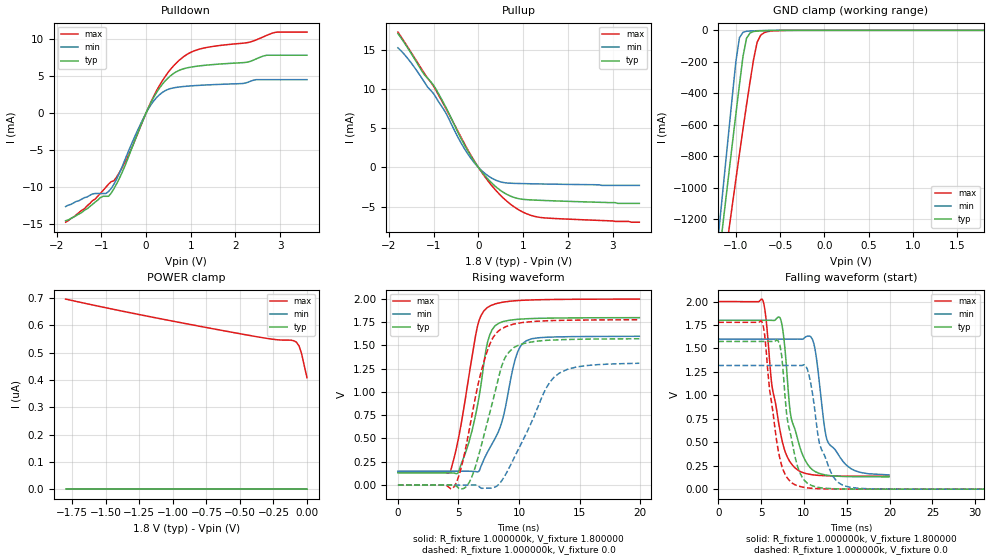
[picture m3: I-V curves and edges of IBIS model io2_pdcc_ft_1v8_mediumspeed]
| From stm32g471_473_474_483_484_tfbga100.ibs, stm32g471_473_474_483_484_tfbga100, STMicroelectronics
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|   Model io2_pdcc_ft_1v8_mediumspeed
[Model]  io2_pdcc_ft_1v8_mediumspeed
Model_type I/O
Polarity   Non-Inverting
Enable   Active-Low
Vinl =   0.540000V
Vinh =   1.260000V
Vmeas =  0.900000V
Cref =   50.000000pF
Rref =   100.000000M
Vref =   0.0V
C_comp   4.367000pF   3.639100pF   5.105000pF
[Temperature Range]   25.000000   -40.000000   0.125000k
[Pullup Reference]   1.800000V   1.600000V   2.000000V
[Pulldown Reference]   0.0V   0.0V   0.0V
[POWER Clamp Reference]   1.800000V   1.600000V   2.000000V
[GND Clamp Reference]   0.0V   0.0V   0.0V
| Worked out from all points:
|   slope of the pulldown table from 0 to 0.27 V, typ, clamps not added: 87.5 ohm
|   slope of the pullup table from 0 to 0.27 V, typ, clamps not added: 147 ohm
|   GND clamp passes 1 mA (typ) near -0.58 V on its own axis
|   rising waveform, R_fixture 1.000000k, V_fixture 1.800000: 20-80 % time 1.42ns typ, 1.84ns min, 1.43ns max; typ from 0.131 V to 1.8 V
|   rising waveform, R_fixture 1.000000k, V_fixture 0.0: 20-80 % time 1.87ns typ, 2.79ns min, 1.81ns max; typ from 0 V to 1.57 V
|   falling waveform, R_fixture 1.000000k, V_fixture 1.800000: 20-80 % time 1.66ns typ, 1.84ns min, 1.7ns max; typ from 1.8 V to 0.132 V
|   falling waveform, R_fixture 1.000000k, V_fixture 0.0: 20-80 % time 1.48ns typ, 1.85ns min, 1.49ns max; typ from 1.57 V to 0 V
[Pulldown]
|Voltage   I(typ)   I(min)   I(max)
-1.8V     -14.5mA    -12.6mA    -14.7mA
-1.38V    -13.1mA    -11.4mA    -12.9mA
-900mV    -11.21mA   -10.84mA   -10mA
-780mV    -10.79mA   -10.16mA   -9.24mA
-480mV    -7.221mA   -6.409mA   -6.723mA
60mV      806.3uA    646.5uA    843.8uA
300mV     3.356mA    2.463mA    3.703mA
600mV     5.259mA    3.369mA    6.249mA
1.2V      6.348mA    3.729mA    8.613mA
2.28V     6.866mA    4.147mA    9.49mA
2.88V     7.779mA    4.489mA    10.85mA
3.6V      7.779mA    4.489mA    10.9mA
[Pullup]
|Voltage   I(typ)   I(min)   I(max)
-1.8V     17.1mA     15.27mA    17.28mA
-1.56V    15.06mA    13.76mA    15.18mA
-1.26V    12.26mA    11.35mA    12.47mA
-960mV    10.1mA     9.046mA    9.942mA
-720mV    7.586mA    6.865mA    7.447mA
-360mV    3.374mA    2.844mA    3.54mA
-120mV    1.005mA    795.6uA    1.089mA
180mV     -1.289mA   -926.4uA   -1.468mA
480mV     -2.883mA   -1.823mA   -3.482mA
900mV     -3.994mA   -2.057mA   -5.412mA
1.32V     -4.191mA   -2.109mA   -6.335mA
3.6V      -4.6mA     -2.3mA     -7mA
[GND_clamp]
|Voltage   I(typ)   I(min)   I(max)
-1.8V     -4.43A     -4.747A    -4.297A
-1.2V     -1.489A    -1.316A    -1.768A
-1.16V    -1.295A    -1.089A    -1.601A
-1.12V    -1.102A    -863.2mA   -1.436A
-1.08V    -909.8mA   -638.7mA   -1.271A
-1V       -530.7mA   -197.2mA   -945.5mA
-960mV    -345.6mA   -47.17mA   -785.2mA
-920mV    -166mA     -12.66mA   -627.5mA
-880mV    -50.53mA   -5.875mA   -473.7mA
-760mV    -4.783mA   -2.396mA   -75.32mA
-680mV    -2.529mA   -1.097mA   -14.51mA
1.8V      0A         0A         305.1nA
[POWER_clamp]
|Voltage   I(typ)   I(min)   I(max)
-1.8V     0A         0A         696.8nA
-1.22V    0A         0A         637nA
-540mV    0A         0A         573.4nA
-260mV    0A         0A         549.8nA
-200mV    0A         0A         546.8nA
-120mV    0A         0A         546.1nA
-100mV    0A         0A         544.2nA
-80mV     0A         0A         539.2nA
-60mV     0A         0A         525.8nA
-40mV     0A         0A         495.9nA
-20mV     0A         0A         451.3nA
0V        0A         0A         408.6nA
[Ramp]
| variable   typ   min   max
dV/dt_r  1.06626/1.81027n   0.94386/2.17436n   1.18619/1.76358n
dV/dt_f  1.07230/1.79953n   0.95160/1.81340n   1.19173/1.90214n
R_load = 10.000000k
[Rising Waveform]
R_fixture= 1.000000k
V_fixture= 1.800000
V_fixture_min= 1.600000
V_fixture_max= 2.000000
|time   V(typ)   V(min)   V(max)
0s        131mV      148.5mV    138.1mV
4.324ns   130.9mV    148.5mV    146.3mV
4.965ns   132.9mV    148.6mV    479.8mV
5.886ns   471.2mV    148.4mV    1.19V
6.687ns   935mV      148.6mV    1.762V
7.367ns   1.513V     345.5mV    1.905V
8.569ns   1.75V      670.3mV    1.962V
9.69ns    1.777V     1.354V     1.979V
10.29ns   1.783V     1.519V     1.984V
19.94ns   1.798V     1.598V     1.997V
[Rising Waveform]
R_fixture= 1.000000k
V_fixture= 0.0
V_fixture_min= 0.0
V_fixture_max= 0.0
|time   V(typ)   V(min)   V(max)
0s        30.16nV    26.35nV    13.37uV
4.685ns   -2.048mV   -5.992uV   -7.366mV
5.285ns   -41.32mV   -17.72uV   216.3mV
6.086ns   82.17mV    530.8uV    729.5mV
7.367ns   665.4mV    -33.75mV   1.434V
8.448ns   1.22V      24.93mV    1.669V
9.61ns    1.479V     294.9mV    1.73V
12.89ns   1.558V     1.158V     1.767V
14.73ns   1.565V     1.268V     1.771V
19.94ns   1.571V     1.308V     1.775V
[Falling Waveform]
R_fixture= 1.000000k
V_fixture= 1.800000
V_fixture_min= 1.600000
V_fixture_max= 2.000000
|time   V(typ)   V(min)   V(max)
0s        1.8V       1.6V       2V
5.205ns   1.8V       1.6V       2.013V
6.286ns   1.8V       1.6V       1.096V
7.327ns   1.8V       1.6V       572.3mV
8.649ns   715.2mV    1.6V       257.5mV
11.01ns   205.6mV    1.595V     153.2mV
12.45ns   152.8mV    632.6mV    143.8mV
12.93ns   145.8mV    482.6mV    142mV
15.5ns    133.5mV    218.4mV    139.1mV
19.94ns   131.5mV    151.9mV    138.6mV
[Falling Waveform]
R_fixture= 1.000000k
V_fixture= 0.0
V_fixture_min= 0.0
V_fixture_max= 0.0
|time   V(typ)   V(min)   V(max)
0s        1.575V     1.319V     1.778V
5.205ns   1.575V     1.319V     1.767V
7.007ns   1.58V      1.319V     413.4mV
7.407ns   1.425V     1.319V     252.2mV
8.208ns   673.9mV    1.319V     103.2mV
10.01ns   99.95mV    1.327V     19.09mV
10.81ns   42.87mV    1.124V     9.944mV
12.01ns   14.56mV    431.9mV    4.464mV
15.42ns   1.402mV    20.54mV    818.2uV
99.7ns    40.59uV    48.23uV    52.01uV
